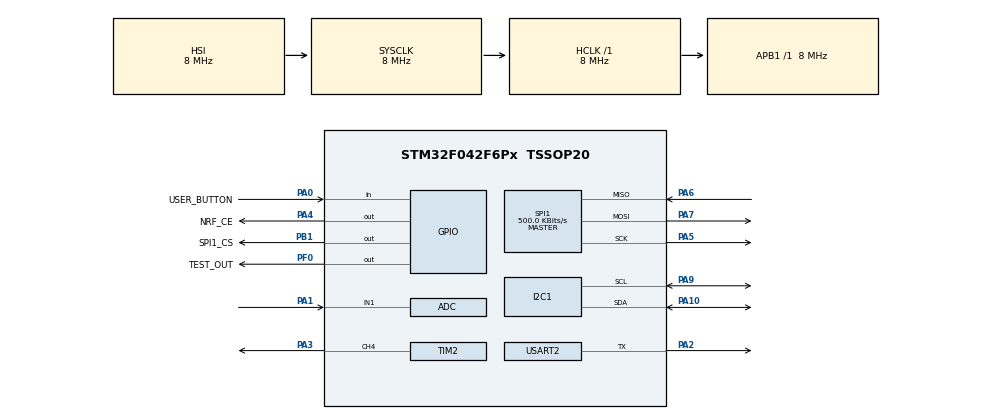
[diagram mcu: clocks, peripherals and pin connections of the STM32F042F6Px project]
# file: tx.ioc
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ADC.ClockPrescaler=ADC_CLOCK_ASYNC_DIV1
ADC.ContinuousConvMode=DISABLE
ADC.DMAContinuousRequests=DISABLE
ADC.DataAlign=ADC_DATAALIGN_RIGHT
ADC.DiscontinuousConvMode=DISABLE
ADC.EOCSelection=ADC_EOC_SINGLE_CONV
ADC.EnableAnalogWatchDog=false
ADC.ExternalTrigConv=ADC_SOFTWARE_START
ADC.ExternalTrigConvEdge=ADC_EXTERNALTRIGCONVEDGE_NONE
ADC.LowPowerAutoPowerOff=DISABLE
ADC.LowPowerAutoWait=DISABLE
ADC.Overrun=ADC_OVR_DATA_PRESERVED
ADC.Resolution=ADC_RESOLUTION_8B
ADC.SamplingTime=ADC_SAMPLETIME_71CYCLES_5
ADC.ScanConvMode=ADC_SCAN_DIRECTION_FORWARD
IWDG.Prescaler=IWDG_PRESCALER_32
Mcu.Family=STM32F0
Mcu.Name=STM32F042F6Px
Mcu.Package=TSSOP20
NVIC.RTC_IRQn=true\:0\:0\:false\:false\:true\:true
NVIC.TIM17_IRQn=true\:0\:0\:false\:false\:true\:true
PA0.GPIO_Label=USER_BUTTON
PA0.GPIO_PuPd=GPIO_PULLUP
PA0.Signal=GPIO_Input
PA1.Mode=IN1
PA1.Signal=ADC_IN1
PA10.Mode=I2C
PA10.Signal=I2C1_SDA
PA13.Mode=Serial_Wire
PA13.Signal=SYS_SWDIO
PA14.Mode=Serial_Wire
PA14.Signal=SYS_SWCLK
PA2.Mode=Half_duplex(single_wire_mode)
PA2.Signal=USART2_TX
PA3.Signal=S_TIM2_CH4
PA4.GPIO_Label=NRF_CE
PA4.Signal=GPIO_Output
PA5.Mode=Full_Duplex_Master
PA5.Signal=SPI1_SCK
PA6.Mode=Full_Duplex_Master
PA6.Signal=SPI1_MISO
PA7.Mode=Full_Duplex_Master
PA7.Signal=SPI1_MOSI
PA9.Mode=I2C
PA9.Signal=I2C1_SCL
PB1.GPIO_Label=SPI1_CS
PB1.PinState=GPIO_PIN_SET
PB1.Signal=GPIO_Output
PF0-OSC_IN.GPIO_Label=TEST_OUT
PF0-OSC_IN.Signal=GPIO_Output
ProjectManager.HeapSize=0x200
ProjectManager.StackSize=0x400
ProjectManager.TargetToolchain=MDK-ARM V5
RCC.AHBFreq_Value=8000000
RCC.APB1Freq_Value=8000000
RCC.APB1TimFreq_Value=8000000
RCC.HCLKFreq_Value=8000000
RCC.SYSCLKFreq_VALUE=8000000
RTC.Alarm=RTC_ALARM_A
RTC.AlarmMaskDateWeekDay=RTC_ALARMMASK_DATEWEEKDAY
RTC.AlarmMaskHours=RTC_ALARMMASK_HOURS
RTC.AlarmMaskMinutes=RTC_ALARMMASK_MINUTES
RTC.AsynchPrediv=26
RTC.Seconds_A=5
RTC.SynchPrediv=4
SH.S_TIM2_CH4.0=TIM2_CH4,PWM Generation4 CH4
SPI1.BaudRatePrescaler=SPI_BAUDRATEPRESCALER_16
SPI1.CalculateBaudRate=500.0 KBits/s
SPI1.DataSize=SPI_DATASIZE_8BIT
SPI1.Direction=SPI_DIRECTION_2LINES
SPI1.Mode=SPI_MODE_MASTER
SPI1.VirtualType=VM_MASTER
TIM17.Period=16666
TIM17.Prescaler=7
TIM2.Channel-PWM\ Generation4\ CH4=TIM_CHANNEL_4
TIM2.Period=255
TIM2.Prescaler=70
USART2.BaudRate=19200
USART2.Mode=MODE_TX
USART2.TxPinLevelInvertParam=UART_ADVFEATURE_TXINV_DISABLE
USART2.VirtualMode-Half_duplex(single_wire_mode)=VM_ASYNC
VP_IWDG_VS_IWDG.Mode=IWDG_Activate
VP_RTC_VS_RTC_Activate.Mode=RTC_Enabled
VP_RTC_VS_RTC_Alarm_A_Intern.Mode=Alarm A
VP_RTC_VS_RTC_Calendar.Mode=RTC_Calendar
VP_TIM17_VS_ClockSourceINT.Mode=Enable_Timer
VP_TIM2_VS_ClockSourceINT.Mode=Internal
board=custom

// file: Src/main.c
/**
  ******************************************************************************
  * @file           : main.c
  * @brief          : Main program body
  ******************************************************************************
  ** This notice applies to any and all portions of this file
  * that are not between comment pairs USER CODE BEGIN and
  * USER CODE END. Other portions of this file, whether
  * inserted by the user or by software development tools
  * are owned by their respective copyright owners.
  *
  * COPYRIGHT(c) 2018 STMicroelectronics
  *
  * Redistribution and use in source and binary forms, with or without modification,
  * are permitted provided that the following conditions are met:
  *   1. Redistributions of source code must retain the above copyright notice,
  *      this list of conditions and the following disclaimer.
  *   2. Redistributions in binary form must reproduce the above copyright notice,
  *      this list of conditions and the following disclaimer in the documentation
  *      and/or other materials provided with the distribution.
  *   3. Neither the name of STMicroelectronics nor the names of its contributors
  *      may be used to endorse or promote products derived from this software
  *      without specific prior written permission.
  *
  * THIS SOFTWARE IS PROVIDED BY THE COPYRIGHT HOLDERS AND CONTRIBUTORS "AS IS"
  * AND ANY EXPRESS OR IMPLIED WARRANTIES, INCLUDING, BUT NOT LIMITED TO, THE
  * IMPLIED WARRANTIES OF MERCHANTABILITY AND FITNESS FOR A PARTICULAR PURPOSE ARE
  * DISCLAIMED. IN NO EVENT SHALL THE COPYRIGHT HOLDER OR CONTRIBUTORS BE LIABLE
  * FOR ANY DIRECT, INDIRECT, INCIDENTAL, SPECIAL, EXEMPLARY, OR CONSEQUENTIAL
  * DAMAGES (INCLUDING, BUT NOT LIMITED TO, PROCUREMENT OF SUBSTITUTE GOODS OR
  * SERVICES; LOSS OF USE, DATA, OR PROFITS; OR BUSINESS INTERRUPTION) HOWEVER
  * CAUSED AND ON ANY THEORY OF LIABILITY, WHETHER IN CONTRACT, STRICT LIABILITY,
  * OR TORT (INCLUDING NEGLIGENCE OR OTHERWISE) ARISING IN ANY WAY OUT OF THE USE
  * OF THIS SOFTWARE, EVEN IF ADVISED OF THE POSSIBILITY OF SUCH DAMAGE.
  *
  ******************************************************************************
  */
#include "main.h"
#include "stm32f0xx_hal.h"

/* USER CODE BEGIN Includes */
#include <stdlib.h>
#include "shared.h"
#include "helpers.h"
#include "nrf24.h"
#include "VL53L0X.h"
#include "animation.h"

#define STATE_IDLE 0
#define STATE_TRIGGERED 1
#define NRF_PAYLOAD_SIZE 4
#define NRF_CHANNEL 120

#define ADC_BUF_SIZE 4
/* USER CODE END Includes */

ADC_HandleTypeDef hadc;

I2C_HandleTypeDef hi2c1;

IWDG_HandleTypeDef hiwdg;

RTC_HandleTypeDef hrtc;

SPI_HandleTypeDef hspi1;

TIM_HandleTypeDef htim2;
TIM_HandleTypeDef htim17;

UART_HandleTypeDef huart2;

/* USER CODE BEGIN PV */
/* Private variables ---------------------------------------------------------*/
volatile uint32_t wakeup_count = 1;
uint8_t nrf_status;
uint8_t data_array[NRF_PAYLOAD_SIZE] = {70, 85, 67, 75};
uint8_t tx_address[5] = {0xDE,0xAD,0xBE,0xEF,0xBB};
uint8_t rx_address[5] = {0xFF,0xFF,0xFF,0xFF,0xFF};
/* USER CODE END PV */

void SystemClock_Config(void);
static void MX_GPIO_Init(void);
static void MX_USART2_UART_Init(void);
static void MX_I2C1_Init(void);
static void MX_SPI1_Init(void);
static void MX_RTC_Init(void);
static void MX_TIM2_Init(void);
static void MX_TIM17_Init(void);
static void MX_ADC_Init(void);
static void MX_IWDG_Init(void);

void HAL_TIM_MspPostInit(TIM_HandleTypeDef *htim);

/* USER CODE BEGIN PFP */
/* Private function prototypes -----------------------------------------------*/

/* USER CODE END PFP */

/* USER CODE BEGIN 0 */
int fputc(int ch, FILE *f)
{
    HAL_UART_Transmit(&huart2, (unsigned char *)&ch, 1, 10);
    return ch;
}

void HAL_RTC_AlarmAEventCallback(RTC_HandleTypeDef *hrtc)
{
  wakeup_count++;
  if(wakeup_count % 5000 == 0) // 5000 * 0.2 = 16.6 minutes
  {
    HAL_ADC_MspInit(&hadc);
    MX_ADC_Init();
    check_battery();
    HAL_ADC_MspDeInit(&hadc);
  }
}

void HAL_TIM_PeriodElapsedCallback(TIM_HandleTypeDef *htim)
{
  if(htim->Instance == TIM17)
    animation_update();
}

/* USER CODE END 0 */

int main(void)
{

  /* MCU Configuration----------------------------------------------------------*/

  /* Reset of all peripherals, Initializes the Flash interface and the Systick. */
  HAL_Init();

  /* Configure the system clock */
  SystemClock_Config();

  /* Initialize all configured peripherals */
  MX_GPIO_Init();
  MX_USART2_UART_Init();
  MX_I2C1_Init();
  MX_SPI1_Init();
  MX_TIM2_Init();
  MX_TIM17_Init();
  MX_ADC_Init();
  /* USER CODE BEGIN 2 */

  check_battery();
  HAL_ADC_MspDeInit(&hadc);
  MX_IWDG_Init(); // where should this go?

  animation_init(&htim17, &htim2);
  start_animation(ANIMATION_TYPE_BREATHING);

  for (int i = 0; i < 4; i++)
  {
    HAL_IWDG_Refresh(&hiwdg);
    HAL_Delay(500);
  }

  /* USER CODE END 2 */

  /* Infinite loop */
  /* USER CODE BEGIN WHILE */
  HAL_IWDG_Refresh(&hiwdg);
  VL53L0X_init();
  setTimeout(500);
  setMeasurementTimingBudget(20000);

  printf("initializing NRF...\n");
  nrf24_init();
  nrf24_config(NRF_CHANNEL, NRF_PAYLOAD_SIZE);
  nrf24_tx_address(tx_address);
  nrf24_rx_address(rx_address);
  printf("done\n");

  printf("calibrating...\n");
  int16_t baseline = get_baseline();
  printf("done!\n");

  uint16_t diff_threshold = get_trigger_threshold(baseline);
  int16_t this_reading = 0;
  int16_t diff = 0;
  uint8_t current_state = STATE_IDLE;

  start_animation(ANIMATION_TYPE_CONST_OFF);
  MX_RTC_Init();
  // HAL_GPIO_WritePin(NRF_CE_GPIO_Port, NRF_CE_Pin, GPIO_PIN_RESET);
  // HAL_GPIO_WritePin(SPI1_CS_GPIO_Port, SPI1_CS_Pin, GPIO_PIN_SET);

  while (1)
  {

  /* USER CODE END WHILE */

  /* USER CODE BEGIN 3 */
    HAL_IWDG_Refresh(&hiwdg);
    this_reading = readRangeSingleMillimeters();
    diff = abs(baseline - this_reading);

    if(current_state == STATE_IDLE && diff > diff_threshold)
    {
      start_animation(ANIMATION_TYPE_CONST_ON);
      printf("triggered\n");

      for (int i = 0; i < 3; i++)
      {
        nrf24_send(data_array);
        while(nrf24_isSending());
        nrf_status = nrf24_lastMessageStatus();
        if(nrf_status == NRF24_TRANSMISSON_OK)
        {
          printf("TX OK\n");
          break;
        }
        printf("TX failed, retry %d\n", i);
      }

      current_state = STATE_TRIGGERED;
    }
    else if(current_state == STATE_TRIGGERED && diff < diff_threshold)
    {
      start_animation(ANIMATION_TYPE_CONST_OFF);
      printf("returned\n");
      current_state = STATE_IDLE;
    }
    HAL_Delay(200);
    // HAL_PWR_EnterSTOPMode(PWR_LOWPOWERREGULATOR_ON, PWR_STOPENTRY_WFI);
    // HAL_GPIO_TogglePin(TEST_OUT_GPIO_Port, TEST_OUT_Pin);
  }
  /* USER CODE END 3 */

}

void SystemClock_Config(void)
{

  RCC_OscInitTypeDef RCC_OscInitStruct;
  RCC_ClkInitTypeDef RCC_ClkInitStruct;
  RCC_PeriphCLKInitTypeDef PeriphClkInit;

    /**Initializes the CPU, AHB and APB busses clocks
    */
  RCC_OscInitStruct.OscillatorType = RCC_OSCILLATORTYPE_HSI|RCC_OSCILLATORTYPE_HSI14
                              |RCC_OSCILLATORTYPE_LSI;
  RCC_OscInitStruct.HSIState = RCC_HSI_ON;
  RCC_OscInitStruct.HSI14State = RCC_HSI14_ON;
  RCC_OscInitStruct.HSICalibrationValue = 16;
  RCC_OscInitStruct.HSI14CalibrationValue = 16;
  RCC_OscInitStruct.LSIState = RCC_LSI_ON;
  RCC_OscInitStruct.PLL.PLLState = RCC_PLL_NONE;
  if (HAL_RCC_OscConfig(&RCC_OscInitStruct) != HAL_OK)
  {
    _Error_Handler(__FILE__, __LINE__);
  }

    /**Initializes the CPU, AHB and APB busses clocks
    */
  RCC_ClkInitStruct.ClockType = RCC_CLOCKTYPE_HCLK|RCC_CLOCKTYPE_SYSCLK
                              |RCC_CLOCKTYPE_PCLK1;
  RCC_ClkInitStruct.SYSCLKSource = RCC_SYSCLKSOURCE_HSI;
  RCC_ClkInitStruct.AHBCLKDivider = RCC_SYSCLK_DIV1;
  RCC_ClkInitStruct.APB1CLKDivider = RCC_HCLK_DIV1;

  if (HAL_RCC_ClockConfig(&RCC_ClkInitStruct, FLASH_LATENCY_0) != HAL_OK)
  {
    _Error_Handler(__FILE__, __LINE__);
  }

  PeriphClkInit.PeriphClockSelection = RCC_PERIPHCLK_I2C1|RCC_PERIPHCLK_RTC;
  PeriphClkInit.I2c1ClockSelection = RCC_I2C1CLKSOURCE_HSI;
  PeriphClkInit.RTCClockSelection = RCC_RTCCLKSOURCE_LSI;
  if (HAL_RCCEx_PeriphCLKConfig(&PeriphClkInit) != HAL_OK)
  {
    _Error_Handler(__FILE__, __LINE__);
  }

    /**Configure the Systick interrupt time
    */
  HAL_SYSTICK_Config(HAL_RCC_GetHCLKFreq()/1000);

    /**Configure the Systick
    */
  HAL_SYSTICK_CLKSourceConfig(SYSTICK_CLKSOURCE_HCLK);

  /* SysTick_IRQn interrupt configuration */
  HAL_NVIC_SetPriority(SysTick_IRQn, 0, 0);
}

/* ADC init function */
static void MX_ADC_Init(void)
{

  ADC_ChannelConfTypeDef sConfig;

    /**Configure the global features of the ADC (Clock, Resolution, Data Alignment and number of conversion)
    */
  hadc.Instance = ADC1;
  hadc.Init.ClockPrescaler = ADC_CLOCK_ASYNC_DIV1;
  hadc.Init.Resolution = ADC_RESOLUTION_8B;
  hadc.Init.DataAlign = ADC_DATAALIGN_RIGHT;
  hadc.Init.ScanConvMode = ADC_SCAN_DIRECTION_FORWARD;
  hadc.Init.EOCSelection = ADC_EOC_SINGLE_CONV;
  hadc.Init.LowPowerAutoWait = DISABLE;
  hadc.Init.LowPowerAutoPowerOff = DISABLE;
  hadc.Init.ContinuousConvMode = DISABLE;
  hadc.Init.DiscontinuousConvMode = DISABLE;
  hadc.Init.ExternalTrigConv = ADC_SOFTWARE_START;
  hadc.Init.ExternalTrigConvEdge = ADC_EXTERNALTRIGCONVEDGE_NONE;
  hadc.Init.DMAContinuousRequests = DISABLE;
  hadc.Init.Overrun = ADC_OVR_DATA_PRESERVED;
  if (HAL_ADC_Init(&hadc) != HAL_OK)
  {
    _Error_Handler(__FILE__, __LINE__);
  }

    /**Configure for the selected ADC regular channel to be converted.
    */
  sConfig.Channel = ADC_CHANNEL_1;
  sConfig.Rank = ADC_RANK_CHANNEL_NUMBER;
  sConfig.SamplingTime = ADC_SAMPLETIME_71CYCLES_5;
  if (HAL_ADC_ConfigChannel(&hadc, &sConfig) != HAL_OK)
  {
    _Error_Handler(__FILE__, __LINE__);
  }

}

/* I2C1 init function */
static void MX_I2C1_Init(void)
{

  hi2c1.Instance = I2C1;
  hi2c1.Init.Timing = 0x2000090E;
  hi2c1.Init.OwnAddress1 = 0;
  hi2c1.Init.AddressingMode = I2C_ADDRESSINGMODE_7BIT;
  hi2c1.Init.DualAddressMode = I2C_DUALADDRESS_DISABLE;
  hi2c1.Init.OwnAddress2 = 0;
  hi2c1.Init.OwnAddress2Masks = I2C_OA2_NOMASK;
  hi2c1.Init.GeneralCallMode = I2C_GENERALCALL_DISABLE;
  hi2c1.Init.NoStretchMode = I2C_NOSTRETCH_DISABLE;
  if (HAL_I2C_Init(&hi2c1) != HAL_OK)
  {
    _Error_Handler(__FILE__, __LINE__);
  }

    /**Configure Analogue filter
    */
  if (HAL_I2CEx_ConfigAnalogFilter(&hi2c1, I2C_ANALOGFILTER_ENABLE) != HAL_OK)
  {
    _Error_Handler(__FILE__, __LINE__);
  }

    /**Configure Digital filter
    */
  if (HAL_I2CEx_ConfigDigitalFilter(&hi2c1, 0) != HAL_OK)
  {
    _Error_Handler(__FILE__, __LINE__);
  }

}

/* IWDG init function */
static void MX_IWDG_Init(void)
{

  hiwdg.Instance = IWDG;
  hiwdg.Init.Prescaler = IWDG_PRESCALER_32;
  hiwdg.Init.Window = 4095;
  hiwdg.Init.Reload = 4095;
  if (HAL_IWDG_Init(&hiwdg) != HAL_OK)
  {
    _Error_Handler(__FILE__, __LINE__);
  }

}

/* RTC init function */
static void MX_RTC_Init(void)
{

  RTC_TimeTypeDef sTime;
  RTC_DateTypeDef sDate;
  RTC_AlarmTypeDef sAlarm;

    /**Initialize RTC Only
    */
  hrtc.Instance = RTC;
  hrtc.Init.HourFormat = RTC_HOURFORMAT_24;
  hrtc.Init.AsynchPrediv = 26;
  hrtc.Init.SynchPrediv = 4;
  hrtc.Init.OutPut = RTC_OUTPUT_DISABLE;
  hrtc.Init.OutPutPolarity = RTC_OUTPUT_POLARITY_HIGH;
  hrtc.Init.OutPutType = RTC_OUTPUT_TYPE_OPENDRAIN;
  if (HAL_RTC_Init(&hrtc) != HAL_OK)
  {
    _Error_Handler(__FILE__, __LINE__);
  }

    /**Initialize RTC and set the Time and Date
    */
  sTime.Hours = 0x0;
  sTime.Minutes = 0x0;
  sTime.Seconds = 0x0;
  sTime.DayLightSaving = RTC_DAYLIGHTSAVING_NONE;
  sTime.StoreOperation = RTC_STOREOPERATION_RESET;
  if (HAL_RTC_SetTime(&hrtc, &sTime, RTC_FORMAT_BCD) != HAL_OK)
  {
    _Error_Handler(__FILE__, __LINE__);
  }

  sDate.WeekDay = RTC_WEEKDAY_MONDAY;
  sDate.Month = RTC_MONTH_JANUARY;
  sDate.Date = 0x1;
  sDate.Year = 0x0;

  if (HAL_RTC_SetDate(&hrtc, &sDate, RTC_FORMAT_BCD) != HAL_OK)
  {
    _Error_Handler(__FILE__, __LINE__);
  }

    /**Enable the Alarm A
    */
  sAlarm.AlarmTime.Hours = 0x0;
  sAlarm.AlarmTime.Minutes = 0x0;
  sAlarm.AlarmTime.Seconds = 0x5;
  sAlarm.AlarmTime.SubSeconds = 0x0;
  sAlarm.AlarmTime.DayLightSaving = RTC_DAYLIGHTSAVING_NONE;
  sAlarm.AlarmTime.StoreOperation = RTC_STOREOPERATION_RESET;
  sAlarm.AlarmMask = RTC_ALARMMASK_DATEWEEKDAY|RTC_ALARMMASK_HOURS
                              |RTC_ALARMMASK_MINUTES;
  sAlarm.AlarmSubSecondMask = RTC_ALARMSUBSECONDMASK_ALL;
  sAlarm.AlarmDateWeekDaySel = RTC_ALARMDATEWEEKDAYSEL_DATE;
  sAlarm.AlarmDateWeekDay = 0x1;
  sAlarm.Alarm = RTC_ALARM_A;
  if (HAL_RTC_SetAlarm_IT(&hrtc, &sAlarm, RTC_FORMAT_BCD) != HAL_OK)
  {
    _Error_Handler(__FILE__, __LINE__);
  }

}

/* SPI1 init function */
static void MX_SPI1_Init(void)
{

  /* SPI1 parameter configuration*/
  hspi1.Instance = SPI1;
  hspi1.Init.Mode = SPI_MODE_MASTER;
  hspi1.Init.Direction = SPI_DIRECTION_2LINES;
  hspi1.Init.DataSize = SPI_DATASIZE_8BIT;
  hspi1.Init.CLKPolarity = SPI_POLARITY_LOW;
  hspi1.Init.CLKPhase = SPI_PHASE_1EDGE;
  hspi1.Init.NSS = SPI_NSS_SOFT;
  hspi1.Init.BaudRatePrescaler = SPI_BAUDRATEPRESCALER_16;
  hspi1.Init.FirstBit = SPI_FIRSTBIT_MSB;
  hspi1.Init.TIMode = SPI_TIMODE_DISABLE;
  hspi1.Init.CRCCalculation = SPI_CRCCALCULATION_DISABLE;
  hspi1.Init.CRCPolynomial = 7;
  hspi1.Init.CRCLength = SPI_CRC_LENGTH_DATASIZE;
  hspi1.Init.NSSPMode = SPI_NSS_PULSE_ENABLE;
  if (HAL_SPI_Init(&hspi1) != HAL_OK)
  {
    _Error_Handler(__FILE__, __LINE__);
  }

}

/* TIM2 init function */
static void MX_TIM2_Init(void)
{

  TIM_ClockConfigTypeDef sClockSourceConfig;
  TIM_MasterConfigTypeDef sMasterConfig;
  TIM_OC_InitTypeDef sConfigOC;

  htim2.Instance = TIM2;
  htim2.Init.Prescaler = 70;
  htim2.Init.CounterMode = TIM_COUNTERMODE_UP;
  htim2.Init.Period = 255;
  htim2.Init.ClockDivision = TIM_CLOCKDIVISION_DIV1;
  htim2.Init.AutoReloadPreload = TIM_AUTORELOAD_PRELOAD_DISABLE;
  if (HAL_TIM_Base_Init(&htim2) != HAL_OK)
  {
    _Error_Handler(__FILE__, __LINE__);
  }

  sClockSourceConfig.ClockSource = TIM_CLOCKSOURCE_INTERNAL;
  if (HAL_TIM_ConfigClockSource(&htim2, &sClockSourceConfig) != HAL_OK)
  {
    _Error_Handler(__FILE__, __LINE__);
  }

  if (HAL_TIM_PWM_Init(&htim2) != HAL_OK)
  {
    _Error_Handler(__FILE__, __LINE__);
  }

  sMasterConfig.MasterOutputTrigger = TIM_TRGO_RESET;
  sMasterConfig.MasterSlaveMode = TIM_MASTERSLAVEMODE_DISABLE;
  if (HAL_TIMEx_MasterConfigSynchronization(&htim2, &sMasterConfig) != HAL_OK)
  {
    _Error_Handler(__FILE__, __LINE__);
  }

  sConfigOC.OCMode = TIM_OCMODE_PWM1;
  sConfigOC.Pulse = 0;
  sConfigOC.OCPolarity = TIM_OCPOLARITY_HIGH;
  sConfigOC.OCFastMode = TIM_OCFAST_DISABLE;
  if (HAL_TIM_PWM_ConfigChannel(&htim2, &sConfigOC, TIM_CHANNEL_4) != HAL_OK)
  {
    _Error_Handler(__FILE__, __LINE__);
  }

  HAL_TIM_MspPostInit(&htim2);

}

/* TIM17 init function */
static void MX_TIM17_Init(void)
{

  htim17.Instance = TIM17;
  htim17.Init.Prescaler = 7;
  htim17.Init.CounterMode = TIM_COUNTERMODE_UP;
  htim17.Init.Period = 16666;
  htim17.Init.ClockDivision = TIM_CLOCKDIVISION_DIV1;
  htim17.Init.RepetitionCounter = 0;
  htim17.Init.AutoReloadPreload = TIM_AUTORELOAD_PRELOAD_DISABLE;
  if (HAL_TIM_Base_Init(&htim17) != HAL_OK)
  {
    _Error_Handler(__FILE__, __LINE__);
  }

}

/* USART2 init function */
static void MX_USART2_UART_Init(void)
{

  huart2.Instance = USART2;
  huart2.Init.BaudRate = 19200;
  huart2.Init.WordLength = UART_WORDLENGTH_8B;
  huart2.Init.StopBits = UART_STOPBITS_1;
  huart2.Init.Parity = UART_PARITY_NONE;
  huart2.Init.Mode = UART_MODE_TX;
  huart2.Init.HwFlowCtl = UART_HWCONTROL_NONE;
  huart2.Init.OverSampling = UART_OVERSAMPLING_16;
  huart2.Init.OneBitSampling = UART_ONE_BIT_SAMPLE_DISABLE;
  huart2.AdvancedInit.AdvFeatureInit = UART_ADVFEATURE_NO_INIT;
  if (HAL_HalfDuplex_Init(&huart2) != HAL_OK)
  {
    _Error_Handler(__FILE__, __LINE__);
  }

}

/** Configure pins as
        * Analog
        * Input
        * Output
        * EVENT_OUT
        * EXTI
*/
static void MX_GPIO_Init(void)
{

  GPIO_InitTypeDef GPIO_InitStruct;

  /* GPIO Ports Clock Enable */
  __HAL_RCC_GPIOF_CLK_ENABLE();
  __HAL_RCC_GPIOA_CLK_ENABLE();
  __HAL_RCC_GPIOB_CLK_ENABLE();

  /*Configure GPIO pin Output Level */
  HAL_GPIO_WritePin(TEST_OUT_GPIO_Port, TEST_OUT_Pin, GPIO_PIN_RESET);

  /*Configure GPIO pin Output Level */
  HAL_GPIO_WritePin(NRF_CE_GPIO_Port, NRF_CE_Pin, GPIO_PIN_RESET);

  /*Configure GPIO pin Output Level */
  HAL_GPIO_WritePin(SPI1_CS_GPIO_Port, SPI1_CS_Pin, GPIO_PIN_SET);

  /*Configure GPIO pin : TEST_OUT_Pin */
  GPIO_InitStruct.Pin = TEST_OUT_Pin;
  GPIO_InitStruct.Mode = GPIO_MODE_OUTPUT_PP;
  GPIO_InitStruct.Pull = GPIO_NOPULL;
  GPIO_InitStruct.Speed = GPIO_SPEED_FREQ_LOW;
  HAL_GPIO_Init(TEST_OUT_GPIO_Port, &GPIO_InitStruct);

  /*Configure GPIO pin : USER_BUTTON_Pin */
  GPIO_InitStruct.Pin = USER_BUTTON_Pin;
  GPIO_InitStruct.Mode = GPIO_MODE_INPUT;
  GPIO_InitStruct.Pull = GPIO_PULLUP;
  HAL_GPIO_Init(USER_BUTTON_GPIO_Port, &GPIO_InitStruct);

  /*Configure GPIO pin : NRF_CE_Pin */
  GPIO_InitStruct.Pin = NRF_CE_Pin;
  GPIO_InitStruct.Mode = GPIO_MODE_OUTPUT_PP;
  GPIO_InitStruct.Pull = GPIO_NOPULL;
  GPIO_InitStruct.Speed = GPIO_SPEED_FREQ_LOW;
  HAL_GPIO_Init(NRF_CE_GPIO_Port, &GPIO_InitStruct);

  /*Configure GPIO pin : SPI1_CS_Pin */
  GPIO_InitStruct.Pin = SPI1_CS_Pin;
  GPIO_InitStruct.Mode = GPIO_MODE_OUTPUT_PP;
  GPIO_InitStruct.Pull = GPIO_NOPULL;
  GPIO_InitStruct.Speed = GPIO_SPEED_FREQ_LOW;
  HAL_GPIO_Init(SPI1_CS_GPIO_Port, &GPIO_InitStruct);

}

void _Error_Handler(char *file, int line)
{
  while(1)
  {
  }
}

/************************ (C) COPYRIGHT STMicroelectronics *****END OF FILE****/
